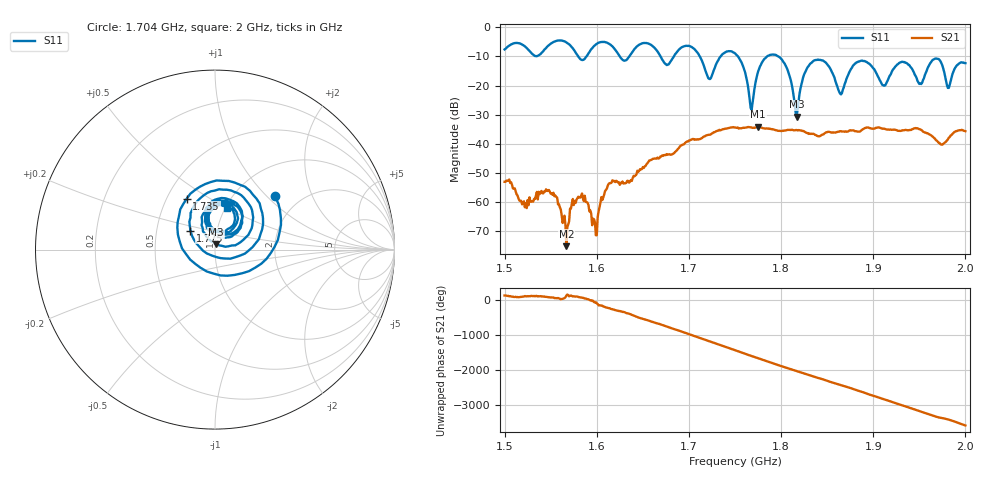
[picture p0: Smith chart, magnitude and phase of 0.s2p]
! NanoVNA-App by SYSJOINT et al v1.1.209 (+OD18)
! Date: 2026-01-21 14:44:35
! Start: 1,5GHz Stop: 2GHz Points: 501
! S-Parameter data: F S11 S21 S12 S22
# Hz S RI R 50
!  Frequency  S11_Real  S11_Imag  S21_Real  S21_Imag  S12_Real  S12_Imag  S22_Real  S22_Imag
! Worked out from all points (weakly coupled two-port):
!   501 points, 1.5 GHz to 2 GHz, reference 50 ohm
!   highest |S21| = -34.13 dB at 1.775 GHz (marker M1); lowest = -75.2 dB at 1.567 GHz (marker M2)
!   lowest |S11| = -30.7 dB at 1.817 GHz (marker M3), VSWR 1.06, Z = 50.5 + j2.89 ohm
!   |S11| at or under -10 dB: 1.712 GHz to 1.734 GHz (22.61 MHz wide, 1.31 % of centre); 1.753 GHz to 1.785 GHz (31.62 MHz wide, 1.79 % of centre); 1.797 GHz to end of sweep (the widest 3 of 6)
!   S12 and S22 are empty: the file has one direction only
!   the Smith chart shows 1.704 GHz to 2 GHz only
!   S11 on the Smith chart (normalised r, x): 1.704 GHz: 1.51, +1.12; 1.735 GHz: 0.63, +0.40; 1.775 GHz: 0.74, +0.16; 2 GHz: 1.02, +0.50
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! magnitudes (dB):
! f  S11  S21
! 1.5 GHz  -7.6  -53.1
! 1.555 GHz  -4.8  -57.8
! 1.567 GHz  -5.2  -75.2
! 1.584 GHz  -11.2  -57.1
! 1.599 GHz  -5.9  -71.4
! 1.615 GHz  -6.0  -53.5
! 1.667 GHz  -8.8  -45.1
! 1.704 GHz  -7.0  -38.3
! 1.722 GHz  -17.7  -36.9
! 1.735 GHz  -9.8  -35.3
! 1.75 GHz  -8.9  -34.4
! 1.767 GHz  -27.7  -34.3
! 1.775 GHz  -15.3  -34.1
! 1.799 GHz  -10.4  -35.6
! 1.817 GHz  -30.7  -35.3
! 1.834 GHz  -11.8  -36.6
! 1.864 GHz  -22.7  -35.7
! 1.886 GHz  -11.5  -35.7
! 1.917 GHz  -17.2  -35.1
! 1.969 GHz  -10.8  -39.0
! 1.982 GHz  -20.8  -37.9
! 2 GHz  -12.3  -35.7
